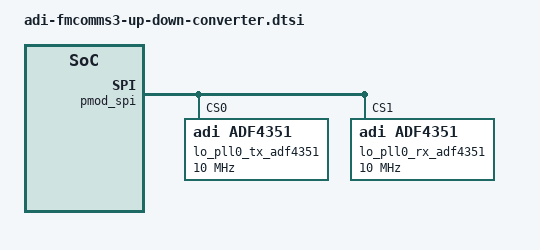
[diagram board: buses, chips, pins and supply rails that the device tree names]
/*
 * FMCOMMS3 optional Up/Down Converter PMOD
 */
/ {
	clocks {
		adf4351_clkin: clock@1 {
			#clock-cells = <0>;
			compatible = "fixed-clock";
			clock-frequency = <25000000>;
			clock-output-names = "refclk";
		};
	};
};

&pmod_spi {
		lo_pll0_tx_adf4351: adf4351-udc-tx-pmod@0 {
			#address-cells = <1>;
			#size-cells = <0>;
			compatible = "adi,adf4351";
			reg = <0>;
			spi-max-frequency = <10000000>;
			clocks = <&adf4351_clkin>;
			clock-names = "clkin";
			adi,channel-spacing = <1000000>;
			adi,power-up-frequency = <370000000>;
			adi,phase-detector-polarity-positive-enable;
			adi,charge-pump-current = <2500>;
			adi,output-power = <3>;
			adi,mute-till-lock-enable;
			adi,muxout-select = <6>;
		};

		lo_pll0_rx_adf4351: adf4351-udc-rx-pmod@1 {
			#address-cells = <1>;
			#size-cells = <0>;
			compatible = "adi,adf4351";
			reg = <1>;
			spi-max-frequency = <10000000>;
			clocks = <&adf4351_clkin>;
			clock-names = "clkin";
			adi,channel-spacing = <1000000>;
			adi,power-up-frequency = <340000000>;
			adi,phase-detector-polarity-positive-enable;
			adi,charge-pump-current = <2500>;
			adi,output-power = <3>;
			adi,mute-till-lock-enable;
			adi,muxout-select = <6>;
		};
};
